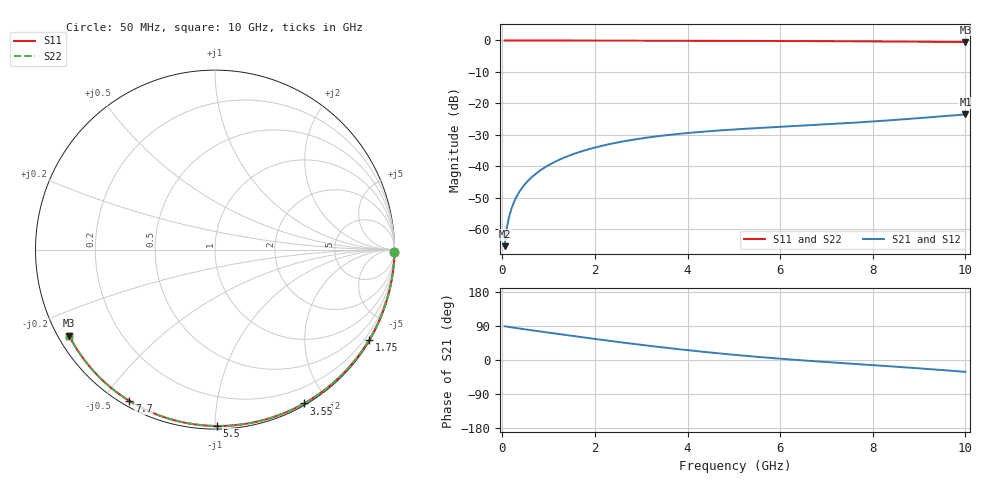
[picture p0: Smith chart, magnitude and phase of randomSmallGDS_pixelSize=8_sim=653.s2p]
! freq	dB(S11)	phase(S11)	dB(S12)	phase(S12)
!  dB(S21)	phase(S21)	dB(S22)	phase(S22)
!S-par simulation data
#  GHz  S  DB  R 50
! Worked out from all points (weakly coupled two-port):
!   200 points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, 50 MHz to 10 GHz, reference 50 ohm
!   highest |S21| = -23.52 dB at 10 GHz (marker M1); lowest = -65.4 dB at 50 MHz (marker M2)
!   lowest |S11| = -0.5 dB at 10 GHz (marker M3), VSWR 34.43, Z = 1.56 - j13.6 ohm
!   |S11| at or under -10 dB: nowhere
!   |S22| runs from -0.5 to 0.0 dB; largest |S21 - S12| = 0
!   S11 on the Smith chart (normalised r, x): 50 MHz: open; 1.75 GHz: 0.03, -3.68; 3.55 GHz: 0.02, -1.73; 5.5 GHz: 0.02, -1.01; 7.7 GHz: 0.02, -0.58; 10 GHz: 0.03, -0.27
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0.05  -0.00 -0.9  -65.39 89.0  -65.39 89.0  -0.00 -0.9
0.1  -0.00 -1.8  -59.38 88.0  -59.38 88.0  -0.00 -1.8
0.15  -0.00 -2.7  -55.87 87.1  -55.87 87.1  -0.00 -2.7
0.2  -0.00 -3.5  -53.38 86.1  -53.38 86.1  -0.00 -3.5
0.25  -0.00 -4.4  -51.46 85.2  -51.46 85.2  -0.00 -4.4
0.35  -0.00 -6.2  -48.57 83.4  -48.57 83.4  -0.00 -6.2
0.5  -0.01 -8.8  -45.51 80.8  -45.51 80.8  -0.01 -8.8
0.7  -0.01 -12.3  -42.65 77.3  -42.65 77.3  -0.01 -12.3
1  -0.02 -17.5  -39.64 72.2  -39.64 72.2  -0.02 -17.5
1.35  -0.03 -23.6  -37.16 66.3  -37.16 66.3  -0.03 -23.6
1.75  -0.04 -30.4  -35.08 59.7  -35.08 59.7  -0.04 -30.4
2.5  -0.06 -43.0  -32.40 47.6  -32.40 47.6  -0.06 -43.0
3.4  -0.08 -57.6  -30.36 34.2  -30.36 34.2  -0.08 -57.6
3.55  -0.08 -59.9  -30.10 32.1  -30.10 32.1  -0.08 -59.9
4.3  -0.11 -71.6  -29.04 22.1  -29.04 22.1  -0.11 -71.6
5.05  -0.13 -82.8  -28.25 13.2  -28.25 13.2  -0.13 -82.8
5.5  -0.15 -89.3  -27.86 8.4  -27.86 8.4  -0.15 -89.3
6.7  -0.21 -106.1  -26.91 -2.9  -26.91 -2.9  -0.21 -106.1
7.7  -0.28 -119.5  -26.05 -11.1  -26.05 -11.1  -0.28 -119.5
8.35  -0.33 -128.0  -25.40 -16.4  -25.40 -16.4  -0.33 -128.0
9.2  -0.41 -139.0  -24.46 -23.8  -24.46 -23.8  -0.41 -139.0
10  -0.50 -149.5  -23.52 -31.3  -23.52 -31.3  -0.50 -149.5
